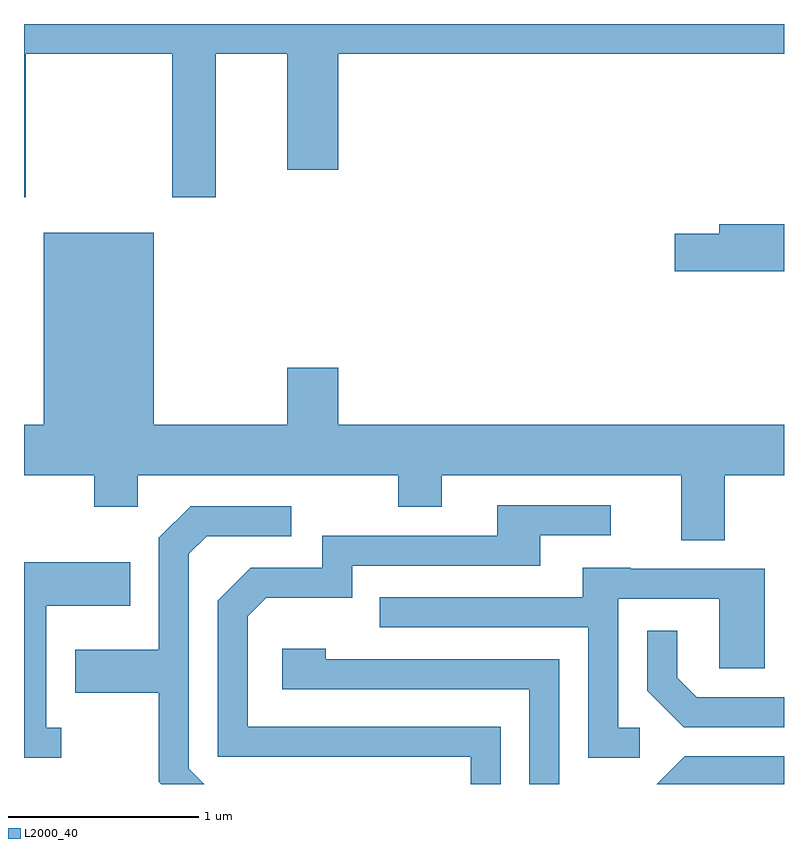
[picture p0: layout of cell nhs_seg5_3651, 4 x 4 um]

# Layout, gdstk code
import gdstk
lib = gdstk.Library(unit=1e-6, precision=1e-09)
def P(c, l, *ps):  # polygons
    for p in ps: c.add(gdstk.Polygon(p, *l))
L2000_40 = (2000, 40)

nhs_seg5_3651 = lib.new_cell('nhs_seg5_3651')
P(nhs_seg5_3651, L2000_40, [(293.619,1447.916),(294.391,1447.916),(294.391,1447.161),(294.619,1447.161),(294.619,1447.916),(294.996,1447.916),(294.996,1447.306),(295.264,1447.306),(295.264,1447.916),(297.611,1447.916),(297.611,1448.072),(293.611,1448.072),(293.611,1447.161),(293.619,1447.161)],
  [(297.611,1447.019),(297.271,1447.019),(297.271,1446.969),(297.036,1446.969),(297.036,1446.771),(297.611,1446.771)],
  [(297.299,1445.696),(297.611,1445.696),(297.611,1445.964),(295.264,1445.964),(295.264,1446.264),(294.996,1446.264),(294.996,1445.964),(294.294,1445.964),(294.294,1446.974),(293.716,1446.974),(293.716,1445.964),(293.611,1445.964),(293.611,1445.696),(293.981,1445.696),(293.981,1445.531),(294.209,1445.531),(294.209,1445.696),(295.581,1445.696),(295.581,1445.531),(295.809,1445.531),(295.809,1445.696),(297.071,1445.696),(297.071,1445.356),(297.299,1445.356)],
  [(296.119,1444.374),(294.789,1444.374),(294.789,1444.954),(294.887,1445.051),(295.339,1445.051),(295.339,1445.221),(296.329,1445.221),(296.329,1445.381),(296.698,1445.381),(296.698,1445.539),(296.101,1445.539),(296.101,1445.379),(295.181,1445.379),(295.181,1445.209),(294.804,1445.209),(294.631,1445.037),(294.631,1444.216),(295.961,1444.216),(295.961,1444.072),(296.119,1444.072)],
  [(294.479,1444.152),(294.479,1445.284),(294.572,1445.376),(295.018,1445.376),(295.018,1445.534),(294.489,1445.534),(294.321,1445.367),(294.321,1444.779),(293.881,1444.779),(293.881,1444.551),(294.321,1444.551),(294.321,1444.084),(294.333,1444.072),(294.559,1444.072)],
  [(293.808,1444.369),(293.729,1444.369),(293.729,1445.011),(294.169,1445.011),(294.169,1445.239),(293.611,1445.239),(293.611,1444.211),(293.808,1444.211)],
  [(296.853,1444.369),(296.739,1444.369),(296.739,1445.046),(297.271,1445.046),(297.271,1444.681),(297.509,1444.681),(297.509,1445.204),(296.805,1445.204),(296.805,1445.209),(296.551,1445.209),(296.551,1445.054),(295.483,1445.054),(295.483,1444.896),(296.581,1444.896),(296.581,1444.211),(296.853,1444.211)],
  [(297.611,1444.529),(297.152,1444.529),(297.049,1444.632),(297.049,1444.878),(296.891,1444.878),(296.891,1444.564),(297.084,1444.371),(297.611,1444.371)],
  [(296.429,1444.729),(295.199,1444.729),(295.199,1444.784),(294.971,1444.784),(294.971,1444.571),(296.271,1444.571),(296.271,1444.072),(296.429,1444.072)],
  [(297.611,1444.219),(297.089,1444.219),(296.942,1444.072),(297.611,1444.072)])

lib.write_gds('nhs_seg5_3651.gds')
